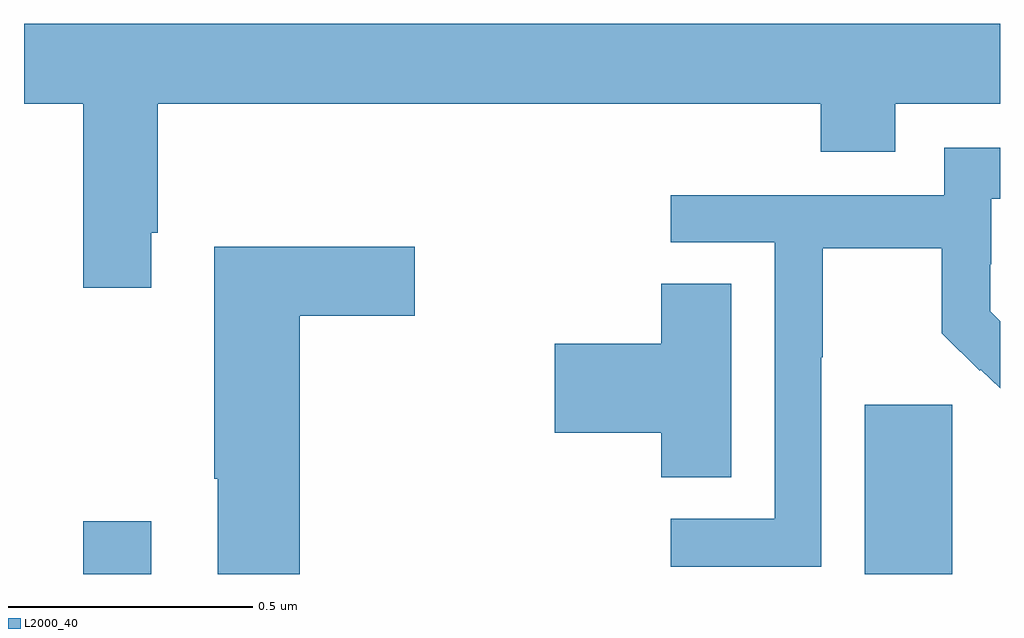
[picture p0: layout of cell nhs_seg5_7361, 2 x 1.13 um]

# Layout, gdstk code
import gdstk
lib = gdstk.Library(unit=1e-6, precision=1e-09)
def R(c, l, rs):  # rectangles x0, y0, x1, y1
    for r in rs: c.add(gdstk.rectangle(r[:2], r[2:], *l))
def P(c, l, *ps):  # polygons
    for p in ps: c.add(gdstk.Polygon(p, *l))
L2000_40 = (2000, 40)

nhs_seg5_7361 = lib.new_cell('nhs_seg5_7361')
R(nhs_seg5_7361, L2000_40, [(208.121,851.799,208.261,851.908), (209.723,851.799,209.902,852.147)])
P(nhs_seg5_7361, L2000_40, [(208.261,852.499),(208.274,852.499),(208.274,852.764),(209.633,852.764),(209.633,852.665),(209.785,852.665),(209.785,852.764),(210,852.764),(210,852.928),(208,852.928),(208,852.764),(208.121,852.764),(208.121,852.387),(208.261,852.387)],
  [(209.634,852.244),(209.637,852.244),(209.637,852.468),(209.881,852.468),(209.881,852.293),(209.958,852.216),(209.961,852.219),(210,852.181),(210,852.318),(209.98,852.338),(209.98,852.435),(209.982,852.435),(209.982,852.569),(210,852.569),(210,852.673),(209.886,852.673),(209.886,852.576),(209.325,852.576),(209.325,852.48),(209.538,852.48),(209.538,851.913),(209.325,851.913),(209.325,851.815),(209.634,851.815)],
  [(208.565,852.329),(208.801,852.329),(208.801,852.471),(208.39,852.471),(208.39,851.995),(208.397,851.995),(208.397,851.799),(208.565,851.799)],
  [(209.449,852.395),(209.306,852.395),(209.306,852.272),(209.088,852.272),(209.088,852.089),(209.306,852.089),(209.306,851.998),(209.449,851.998)])

lib.write_gds('nhs_seg5_7361.gds')
